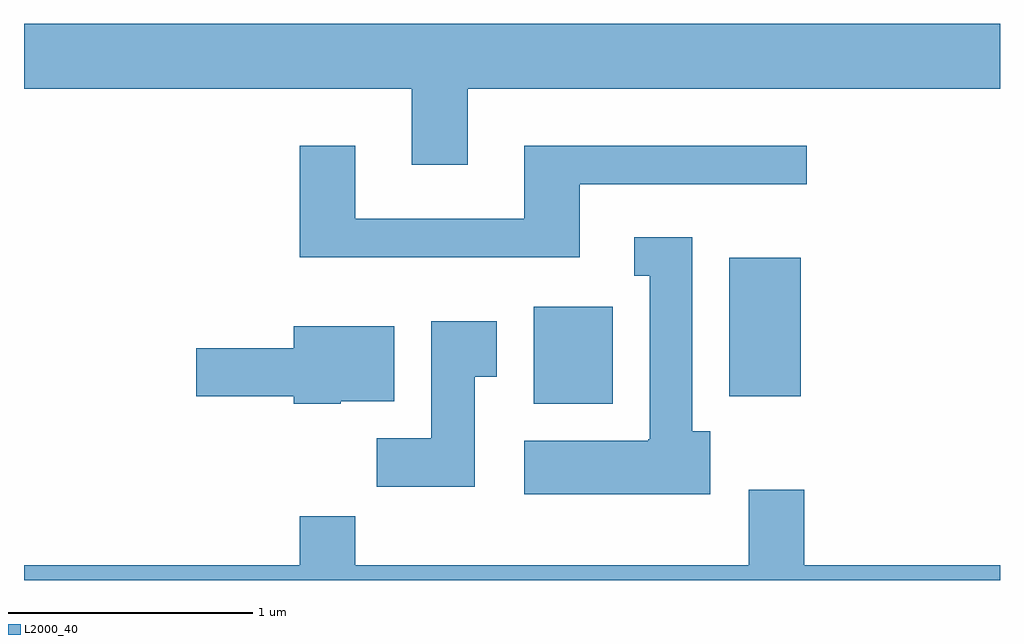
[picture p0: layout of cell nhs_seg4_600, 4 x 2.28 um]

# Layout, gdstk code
import gdstk
lib = gdstk.Library(unit=1e-6, precision=1e-09)
def R(c, l, rs):  # rectangles x0, y0, x1, y1
    for r in rs: c.add(gdstk.rectangle(r[:2], r[2:], *l))
def P(c, l, *ps):  # polygons
    for p in ps: c.add(gdstk.Polygon(p, *l))
L2000_40 = (2000, 40)

nhs_seg4_600 = lib.new_cell('nhs_seg4_600')
R(nhs_seg4_600, L2000_40, [(203.701,1366.706,204.024,1367.104), (204.501,1366.736,204.794,1367.304)])
P(nhs_seg4_600, L2000_40, [(203.429,1367.996),(205.611,1367.996),(205.611,1368.264),(201.611,1368.264),(201.611,1367.996),(203.201,1367.996),(203.201,1367.686),(203.429,1367.686)],
  [(203.889,1367.606),(204.818,1367.606),(204.818,1367.764),(203.661,1367.764),(203.661,1367.464),(202.969,1367.464),(202.969,1367.764),(202.741,1367.764),(202.741,1367.306),(203.889,1367.306)],
  [(204.424,1366.594),(204.349,1366.594),(204.349,1367.389),(204.113,1367.389),(204.113,1367.231),(204.176,1367.231),(204.176,1366.56),(204.17,1366.56),(204.17,1366.554),(203.661,1366.554),(203.661,1366.336),(204.424,1366.336)],
  [(203.459,1366.816),(203.549,1366.816),(203.549,1367.044),(203.281,1367.044),(203.281,1366.564),(203.056,1366.564),(203.056,1366.366),(203.459,1366.366)],
  [(202.91,1366.716),(203.129,1366.716),(203.129,1367.024),(202.716,1367.024),(202.716,1366.934),(202.316,1366.934),(202.316,1366.736),(202.716,1366.736),(202.716,1366.706),(202.91,1366.706)],
  [(205.611,1366.044),(204.809,1366.044),(204.809,1366.354),(204.581,1366.354),(204.581,1366.044),(202.969,1366.044),(202.969,1366.244),(202.741,1366.244),(202.741,1366.044),(201.611,1366.044),(201.611,1365.982),(205.611,1365.982)])

lib.write_gds('nhs_seg4_600.gds')
